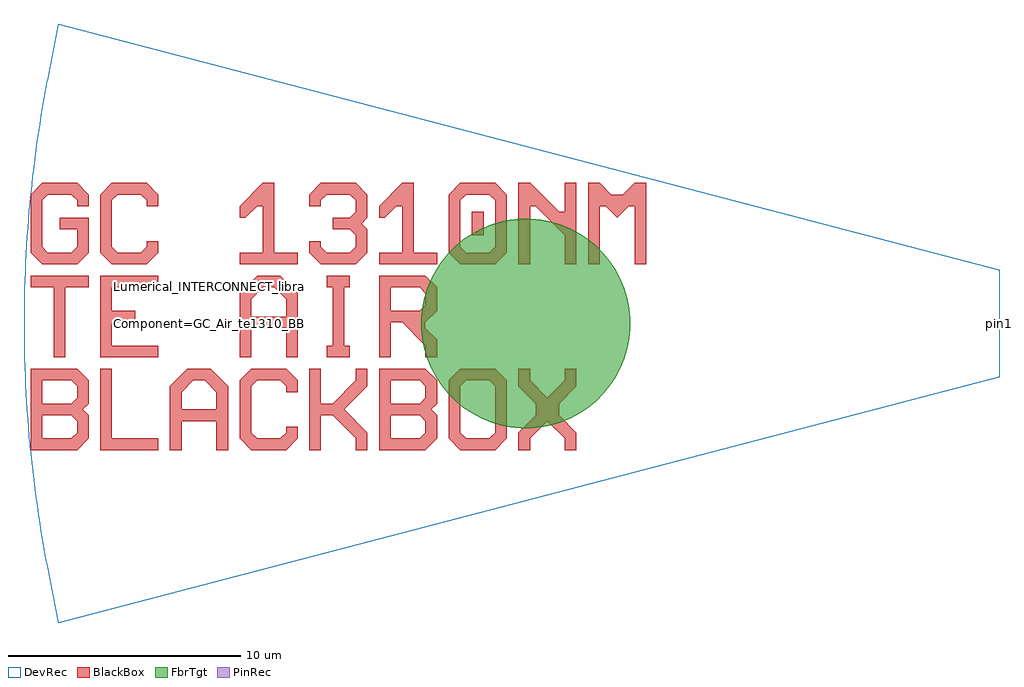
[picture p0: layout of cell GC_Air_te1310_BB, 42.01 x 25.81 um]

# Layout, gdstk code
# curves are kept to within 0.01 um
import gdstk
lib = gdstk.Library(unit=1e-6, precision=1e-09)
def R(c, l, rs):  # rectangles x0, y0, x1, y1
    for r in rs: c.add(gdstk.rectangle(r[:2], r[2:], *l))
def P(c, l, *ps):  # polygons
    for p in ps: c.add(gdstk.Polygon(p, *l))
PinRec = (1, 10)
DevRec = (68, 0)
FbrTgt = (81, 0)
BlackBox = (998, 0)

gc_air_te1310_bb = lib.new_cell('GC_Air_te1310_BB')
P(gc_air_te1310_bb, DevRec, [(-40.529,-12.904),(-41.007,-10.457),(-41.209,-9.338),(-41.442,-7.85),(-41.635,-6.364),(-41.787,-4.868),(-41.899,-3.367),(-41.97,-1.875),(-42.002,0),(-41.97,1.864),(-41.899,3.367),(-41.788,4.858),(-41.637,6.347),(-41.444,7.839),(-41.211,9.328),(-41.012,10.431),(-40.529,12.904),(0,2.317),(0,-2.317)])
P(gc_air_te1310_bb, FbrTgt, [(-20.621,-4.5),(-21.061,-4.457),(-21.495,-4.37),(-21.918,-4.242),(-22.326,-4.073),(-22.716,-3.864),(-23.084,-3.619),(-23.426,-3.338),(-23.738,-3.026),(-24.019,-2.684),(-24.264,-2.316),(-24.473,-1.926),(-24.642,-1.518),(-24.77,-1.095),(-24.857,-0.661),(-24.9,-0.221),(-24.9,0.221),(-24.857,0.661),(-24.77,1.095),(-24.642,1.518),(-24.473,1.926),(-24.264,2.316),(-24.019,2.684),(-23.738,3.026),(-23.426,3.338),(-23.084,3.619),(-22.716,3.864),(-22.326,4.073),(-21.918,4.242),(-21.495,4.37),(-21.061,4.457),(-20.621,4.5),(-20.179,4.5),(-19.739,4.457),(-19.305,4.37),(-18.882,4.242),(-18.474,4.073),(-18.084,3.864),(-17.716,3.619),(-17.374,3.338),(-17.062,3.026),(-16.781,2.684),(-16.536,2.316),(-16.327,1.926),(-16.158,1.518),(-16.03,1.095),(-15.943,0.661),(-15.9,0.221),(-15.9,-0.221),(-15.943,-0.661),(-16.03,-1.095),(-16.158,-1.518),(-16.327,-1.926),(-16.536,-2.316),(-16.781,-2.684),(-17.062,-3.026),(-17.374,-3.338),(-17.716,-3.619),(-18.084,-3.864),(-18.474,-4.073),(-18.882,-4.242),(-19.305,-4.37),(-19.739,-4.457),(-20.179,-4.5)])
R(gc_air_te1310_bb, BlackBox, [(-22.72,3.8,-22.22,4.8)])
P(gc_air_te1310_bb, BlackBox, [(-41.22,2.55),(-41.72,3.05),(-41.72,5.55),(-41.22,6.05),(-39.72,6.05),(-39.22,5.55),(-39.22,5.05),(-39.72,5.05),(-39.72,5.3),(-39.97,5.55),(-40.97,5.55),(-41.22,5.3),(-41.22,3.3),(-40.97,3.05),(-39.97,3.05),(-39.72,3.3),(-39.72,4.05),(-40.47,4.05),(-40.47,4.55),(-39.22,4.55),(-39.22,3.05),(-39.72,2.55)],
  [(-38.22,2.55),(-38.72,3.05),(-38.72,5.55),(-38.22,6.05),(-36.72,6.05),(-36.22,5.55),(-36.22,5.05),(-36.72,5.05),(-36.72,5.3),(-36.97,5.55),(-37.97,5.55),(-38.22,5.3),(-38.22,3.3),(-37.97,3.05),(-36.97,3.05),(-36.72,3.3),(-36.72,3.55),(-36.22,3.55),(-36.22,3.05),(-36.72,2.55)],
  [(-32.72,2.55),(-32.72,3.05),(-31.72,3.05),(-31.72,5.05),(-31.97,5.05),(-32.47,4.55),(-32.72,4.55),(-32.72,5.05),(-31.72,6.05),(-31.22,6.05),(-31.22,3.05),(-30.22,3.05),(-30.22,2.55)],
  [(-29.22,2.55),(-29.72,3.05),(-29.72,3.55),(-29.22,3.55),(-29.22,3.3),(-28.97,3.05),(-27.97,3.05),(-27.72,3.3),(-27.72,3.8),(-27.97,4.05),(-28.72,4.05),(-28.72,4.55),(-27.97,4.55),(-27.72,4.8),(-27.72,5.3),(-27.97,5.55),(-28.97,5.55),(-29.22,5.3),(-29.22,5.05),(-29.72,5.05),(-29.72,5.55),(-29.22,6.05),(-27.72,6.05),(-27.22,5.55),(-27.22,4.55),(-27.47,4.3),(-27.22,4.05),(-27.22,3.05),(-27.72,2.55)],
  [(-26.72,2.55),(-26.72,3.05),(-25.72,3.05),(-25.72,5.05),(-25.97,5.05),(-26.47,4.55),(-26.72,4.55),(-26.72,5.05),(-25.72,6.05),(-25.22,6.05),(-25.22,3.05),(-24.22,3.05),(-24.22,2.55)],
  [(-23.22,2.55),(-23.72,3.05),(-23.72,5.55),(-23.22,6.05),(-21.72,6.05),(-21.22,5.55),(-22.97,5.55),(-23.22,5.3),(-23.22,3.3),(-22.97,3.05),(-21.97,3.05),(-21.72,3.3),(-21.72,5.3),(-21.97,5.55),(-21.22,5.55),(-21.22,3.05),(-21.72,2.55)],
  [(-20.72,2.55),(-20.72,6.05),(-20.22,6.05),(-18.97,4.8),(-18.72,4.8),(-18.72,6.05),(-18.22,6.05),(-18.22,2.55),(-18.72,2.55),(-18.72,3.8),(-19.97,5.05),(-20.22,5.05),(-20.22,2.55)],
  [(-17.72,2.55),(-17.72,6.05),(-17.22,6.05),(-16.72,5.55),(-16.22,5.55),(-15.72,6.05),(-15.22,6.05),(-15.22,2.55),(-15.72,2.55),(-15.72,5.05),(-15.97,5.05),(-16.47,4.55),(-16.97,5.05),(-17.22,5.05),(-17.22,2.55)],
  [(-40.72,-1.45),(-40.72,1.55),(-41.72,1.55),(-41.72,2.05),(-39.22,2.05),(-39.22,1.55),(-40.22,1.55),(-40.22,-1.45)],
  [(-38.72,-1.45),(-38.72,2.05),(-36.22,2.05),(-36.22,1.55),(-38.22,1.55),(-38.22,0.55),(-37.22,0.55),(-37.22,0.05),(-38.22,0.05),(-38.22,-0.95),(-36.22,-0.95),(-36.22,-1.45)],
  [(-32.72,-1.45),(-32.72,1.3),(-31.97,2.05),(-30.97,2.05),(-30.47,1.55),(-31.72,1.55),(-32.22,1.05),(-32.22,0.3),(-30.72,0.3),(-30.72,1.05),(-31.22,1.55),(-30.47,1.55),(-30.22,1.3),(-30.22,-1.45),(-30.72,-1.45),(-30.72,-0.2),(-32.22,-0.2),(-32.22,-1.45)],
  [(-28.97,-1.45),(-28.97,-0.95),(-28.72,-0.95),(-28.72,1.55),(-28.97,1.55),(-28.97,2.05),(-27.97,2.05),(-27.97,1.55),(-28.22,1.55),(-28.22,-0.95),(-27.97,-0.95),(-27.97,-1.45)],
  [(-26.72,-1.45),(-26.72,2.05),(-24.72,2.05),(-24.22,1.55),(-26.22,1.55),(-26.22,0.55),(-24.97,0.55),(-24.72,0.8),(-24.72,1.3),(-24.97,1.55),(-24.22,1.55),(-24.22,0.55),(-24.72,0.05),(-24.72,-0.2),(-24.22,-0.7),(-24.22,-1.45),(-24.72,-1.45),(-24.72,-0.95),(-25.72,0.05),(-26.22,0.05),(-26.22,-1.45)],
  [(-41.72,-5.45),(-41.72,-1.95),(-39.72,-1.95),(-39.22,-2.45),(-41.22,-2.45),(-41.22,-3.45),(-39.97,-3.45),(-39.72,-3.2),(-39.72,-2.7),(-39.97,-2.45),(-39.22,-2.45),(-39.22,-3.45),(-39.47,-3.7),(-39.22,-3.95),(-41.22,-3.95),(-41.22,-4.95),(-39.97,-4.95),(-39.72,-4.7),(-39.72,-4.2),(-39.97,-3.95),(-39.22,-3.95),(-39.22,-4.95),(-39.72,-5.45)],
  [(-38.72,-5.45),(-38.72,-1.95),(-38.22,-1.95),(-38.22,-4.95),(-36.22,-4.95),(-36.22,-5.45)],
  [(-35.72,-5.45),(-35.72,-2.7),(-34.97,-1.95),(-33.97,-1.95),(-33.47,-2.45),(-34.72,-2.45),(-35.22,-2.95),(-35.22,-3.7),(-33.72,-3.7),(-33.72,-2.95),(-34.22,-2.45),(-33.47,-2.45),(-33.22,-2.7),(-33.22,-5.45),(-33.72,-5.45),(-33.72,-4.2),(-35.22,-4.2),(-35.22,-5.45)],
  [(-32.22,-5.45),(-32.72,-4.95),(-32.72,-2.45),(-32.22,-1.95),(-30.72,-1.95),(-30.22,-2.45),(-30.22,-2.95),(-30.72,-2.95),(-30.72,-2.7),(-30.97,-2.45),(-31.97,-2.45),(-32.22,-2.7),(-32.22,-4.7),(-31.97,-4.95),(-30.97,-4.95),(-30.72,-4.7),(-30.72,-4.45),(-30.22,-4.45),(-30.22,-4.95),(-30.72,-5.45)],
  [(-29.72,-5.45),(-29.72,-1.95),(-29.22,-1.95),(-29.22,-3.45),(-28.72,-3.45),(-27.72,-2.45),(-27.72,-1.95),(-27.22,-1.95),(-27.22,-2.7),(-28.22,-3.7),(-27.22,-4.7),(-27.22,-5.45),(-27.72,-5.45),(-27.72,-4.95),(-28.72,-3.95),(-29.22,-3.95),(-29.22,-5.45)],
  [(-26.72,-5.45),(-26.72,-1.95),(-24.72,-1.95),(-24.22,-2.45),(-26.22,-2.45),(-26.22,-3.45),(-24.97,-3.45),(-24.72,-3.2),(-24.72,-2.7),(-24.97,-2.45),(-24.22,-2.45),(-24.22,-3.45),(-24.47,-3.7),(-24.22,-3.95),(-26.22,-3.95),(-26.22,-4.95),(-24.97,-4.95),(-24.72,-4.7),(-24.72,-4.2),(-24.97,-3.95),(-24.22,-3.95),(-24.22,-4.95),(-24.72,-5.45)],
  [(-23.22,-5.45),(-23.72,-4.95),(-23.72,-2.45),(-23.22,-1.95),(-21.72,-1.95),(-21.22,-2.45),(-21.22,-3.7),(-21.72,-3.7),(-21.72,-2.7),(-21.97,-2.45),(-22.97,-2.45),(-23.22,-2.7),(-23.22,-4.7),(-22.97,-4.95),(-21.97,-4.95),(-21.72,-4.7),(-21.72,-3.7),(-21.22,-3.7),(-21.22,-4.95),(-21.72,-5.45)],
  [(-20.72,-5.45),(-20.72,-4.7),(-19.97,-3.95),(-19.97,-3.45),(-20.72,-2.7),(-20.72,-1.95),(-20.22,-1.95),(-20.22,-2.45),(-19.47,-3.2),(-18.72,-2.45),(-18.72,-1.95),(-18.22,-1.95),(-18.22,-2.7),(-18.97,-3.45),(-18.97,-3.95),(-18.22,-4.7),(-18.22,-5.45),(-18.72,-5.45),(-18.72,-4.95),(-19.47,-4.2),(-20.22,-4.95),(-20.22,-5.45)])
gc_air_te1310_bb.add(gdstk.FlexPath([(-0.01,0),(0.01,0)], 0.35, ends="flush", simple_path=True, layer=1, datatype=10))  # PinRec
gc_air_te1310_bb.add(gdstk.Label('pin1', (0,0), layer=1, texttype=10))
gc_air_te1310_bb.add(gdstk.Label('Lumerical_INTERCONNECT_library=Design kits/Lumerical_INTERCONNECT_library=Design kits/SiEPICfab_EBeam_ZEP', (-34.01,1.61), layer=68, texttype=0))
gc_air_te1310_bb.add(gdstk.Label('Component=GC_Air_te1310_BB', (-34.01,0), layer=68, texttype=0))

lib.write_gds('GC_Air_te1310_BB.gds')
